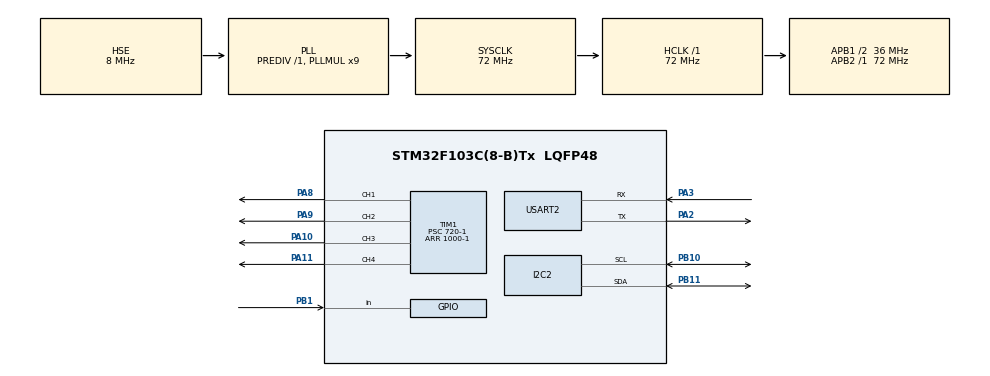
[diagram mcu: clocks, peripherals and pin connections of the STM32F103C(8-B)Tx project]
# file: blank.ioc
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I2C2.I2C_Mode=I2C_Fast
Mcu.Family=STM32F1
Mcu.Name=STM32F103C(8-B)Tx
Mcu.Package=LQFP48
NVIC.PriorityGroup=NVIC_PRIORITYGROUP_4
NVIC.USART2_IRQn=true\:0\:0\:false\:false\:true\:true\:true\:true
PA10.Signal=S_TIM1_CH3
PA11.Signal=S_TIM1_CH4
PA13.Mode=Serial_Wire
PA13.Signal=SYS_JTMS-SWDIO
PA14.Mode=Serial_Wire
PA14.Signal=SYS_JTCK-SWCLK
PA2.Mode=Asynchronous
PA2.Signal=USART2_TX
PA3.Mode=Asynchronous
PA3.Signal=USART2_RX
PA8.Signal=S_TIM1_CH1
PA9.Signal=S_TIM1_CH2
PB1.Signal=GPIO_Input
PB10.Mode=I2C
PB10.Signal=I2C2_SCL
PB11.Mode=I2C
PB11.Signal=I2C2_SDA
PD0-OSC_IN.Mode=HSE-External-Oscillator
PD0-OSC_IN.Signal=RCC_OSC_IN
PD1-OSC_OUT.Mode=HSE-External-Oscillator
PD1-OSC_OUT.Signal=RCC_OSC_OUT
ProjectManager.HeapSize=0x200
ProjectManager.StackSize=0x400
ProjectManager.TargetToolchain=CMake
RCC.AHBFreq_Value=72000000
RCC.APB1CLKDivider=RCC_HCLK_DIV2
RCC.APB1Freq_Value=36000000
RCC.APB1TimFreq_Value=72000000
RCC.APB2Freq_Value=72000000
RCC.APB2TimFreq_Value=72000000
RCC.HCLKFreq_Value=72000000
RCC.PLLMUL=RCC_PLL_MUL9
RCC.PLLSourceVirtual=RCC_PLLSOURCE_HSE
RCC.SYSCLKFreq_VALUE=72000000
RCC.SYSCLKSource=RCC_SYSCLKSOURCE_PLLCLK
RCC.USBFreq_Value=72000000
SH.S_TIM1_CH1.0=TIM1_CH1,PWM Generation1 CH1
SH.S_TIM1_CH2.0=TIM1_CH2,PWM Generation2 CH2
SH.S_TIM1_CH3.0=TIM1_CH3,PWM Generation3 CH3
SH.S_TIM1_CH4.0=TIM1_CH4,PWM Generation4 CH4
TIM1.Channel-PWM\ Generation1\ CH1=TIM_CHANNEL_1
TIM1.Channel-PWM\ Generation2\ CH2=TIM_CHANNEL_2
TIM1.Channel-PWM\ Generation3\ CH3=TIM_CHANNEL_3
TIM1.Channel-PWM\ Generation4\ CH4=TIM_CHANNEL_4
TIM1.Period=1000-1
TIM1.Prescaler=720-1
USART2.VirtualMode=VM_ASYNC
VP_TIM1_VS_ClockSourceINT.Mode=Internal
board=custom

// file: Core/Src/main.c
/* USER CODE BEGIN Header */
/**
  ******************************************************************************
  * @file           : main.c
  * @brief          : Main program body
  ******************************************************************************
  * @attention
  *
  * Copyright (c) 2025 STMicroelectronics.
  * All rights reserved.
  *
  * This software is licensed under terms that can be found in the LICENSE file
  * in the root directory of this software component.
  * If no LICENSE file comes with this software, it is provided AS-IS.
  *
  ******************************************************************************
  */
/* USER CODE END Header */
#include "main.h"
#include "i2c.h"
#include "tim.h"
#include "usart.h"
#include "gpio.h"

/* USER CODE BEGIN Includes */
#include "mpu6050.h"
#include "string.h"
#include "stdio.h"
/* USER CODE END Includes */

/* USER CODE BEGIN PV */
MPU6050_t MPU6050;

uint8_t rxBuffer[1];  // Single character buffer
uint8_t transmitBuffer[64];  // Complete message buffer
uint16_t messageIndex = 0;  // Current position in message
uint8_t messageComplete = 0;  // Flag indicating complete message
uint8_t messageBuffer[MAX_MESSAGE_SIZE];

double roll = 0;
double pitch = 0;
double yaw = 0;        // IMU angle

uint16_t ccrValue = 0;
uint32_t tick_prev = 0;

double uRoll = 0;
double uPitch = 0;
double uYaw = 0;
double baseDuty = 0;
int flag = 4; // 4: mode1, 0~1: motor, 5: pid

/* USER CODE END PV */

void SystemClock_Config(void);

/* USER CODE BEGIN 0 */
typedef struct {
    double kp, ki, kd;
    double i_term;
    double prev_err;
} PID_t;
// need experiment
static PID_t pidRoll  = { 1.0, 0.0, 20.0, 0.0, 0.0 }; // you need to adjust gain
static PID_t pidPitch = { 1.0, 0.0, 20.0, 0.0, 0.0 };
static PID_t pidYaw   = { 1.0, 0.0, 0.0, 0.0, 0.0 };

// sp: target, mv: sensor state(current)
static inline double pid_update(PID_t *p, double sp, double mv, double dt)
{
    double err = sp - mv;
    p->i_term += p->ki * err * dt;
    double d   = p->kd * (err - p->prev_err) / dt;
    p->prev_err = err;
    return p->kp * err + p->i_term + d;
}

/* PSC = 720-1, ARR = 1000-1 */
static inline void setMotorDuty(uint8_t channel, double dutyPercent)
/*
    channel: 0‥3 (CH1..CH4)
    dutyPercent: 0.0 – 100.0 (%)
*/
{
    if (dutyPercent < 0.0) dutyPercent = 0.0;
    if (dutyPercent > 100.0) dutyPercent = 100.0;

    /* total ticks per period = ARR + 1 */
    uint16_t periodTicks = TIM1->ARR + 1;
    ccrValue = (uint16_t)((dutyPercent / 100.0) * periodTicks);

    switch (channel)
    {
        case 0: TIM1->CCR1 = ccrValue; break;   /* PA8  */
        case 1: TIM1->CCR2 = ccrValue; break;   /* PA9  */
        case 2: TIM1->CCR3 = ccrValue; break;   /* PA10 */
        default:TIM1->CCR4 = ccrValue; break;   /* PA11 */
    }
}

/* USER CODE END 0 */

int main(void)
{

  /* USER CODE BEGIN 1 */
  int i = 0;
  /* USER CODE END 1 */

  /* MCU Configuration--------------------------------------------------------*/

  /* Reset of all peripherals, Initializes the Flash interface and the Systick. */
  HAL_Init();

  /* Configure the system clock */
  SystemClock_Config();

  /* Initialize all configured peripherals */
  MX_GPIO_Init();
  MX_I2C2_Init();
  MX_TIM1_Init();
  MX_USART2_UART_Init();
  /* USER CODE BEGIN 2 */
  HAL_TIM_PWM_Start(&htim1, TIM_CHANNEL_1);
  HAL_TIM_PWM_Start(&htim1, TIM_CHANNEL_2);
  HAL_TIM_PWM_Start(&htim1, TIM_CHANNEL_3);
  HAL_TIM_PWM_Start(&htim1, TIM_CHANNEL_4);

  // while (MPU6050_Init(&hi2c2) == 1);

  // Start UART reception in interrupt mode (single character)
  HAL_UART_Receive_IT(&huart2, rxBuffer, 1);

  // Send welcome message
  char welcomeMsg[] = "UART2 Interrupt Ready!\r\n";
  HAL_UART_Transmit(&huart2, (uint8_t*)welcomeMsg, strlen(welcomeMsg), HAL_MAX_DELAY);

  /* USER CODE END 2 */

  /* Infinite loop */
  while (1)
  {

    /* USER CODE BEGIN 3 */

    // Thus static, only once called
    uint32_t tick_now = HAL_GetTick(); /* milliseconds */
    double dt = (tick_now - tick_prev) * 0.001; /* seconds      */
    tick_prev = tick_now;

    /* 1. Read raw sensors (driver also updates Kalman angles) */
    MPU6050_Read_All(&hi2c2, &MPU6050);

    yaw = MPU6050.KalmanAngleX;   /* deg, double */
    pitch = MPU6050.KalmanAngleY;  /* deg, double, you need to +-90 'sometimes', depends on case */
    roll += MPU6050.Gz * dt;          /* Gz: deg/s */

    /* 2. PID computation (target: level = 0°) */
    uRoll = pid_update(&pidRoll, 0.0, roll , dt);
    uPitch = pid_update(&pidPitch, 0.0, pitch, dt);
    uYaw = pid_update(&pidYaw , 0.0, yaw , dt);

    /* 3. Mixer: +X quad (FL, FR, RR, RL) */
    /* AP001, 0: RL(cw), 1: FR(cw), 2: RR(ccw), 3: FL(ccw) */
    /* AP003, 0: RR(ccw), 1: FR(Cw), 2: RL(cw), 3: FL(ccw) */
    // setMotorDuty(0, baseDuty + uPitch - uRoll + uYaw); /* Motor 1 (PA8)  */
    // setMotorDuty(0, 0); // answer
    // setMotorDuty(0, 0);

    // setMotorDuty(1, baseDuty + uPitch + uRoll - uYaw); /* Motor 2 (PA9)  */
    // setMotorDuty(1, baseDuty + uPitch + uRoll - uYaw);
    // setMotorDuty(1, 0);
    // setMotorDuty(2, baseDuty - uPitch + uRoll + uYaw); /* Motor 3 (PA10) */
    // setMotorDuty(2, baseDuty - uPitch - uRoll - uYaw);
    // setMotorDuty(2, baseDuty);
    // setMotorDuty(3, baseDuty - uPitch - uRoll - uYaw); /* Motor 4 (PA11) */
    // setMotorDuty(3, baseDuty - uPitch + uRoll + uYaw);
    // setMotorDuty(3, 0);

    if(flag == 4) {
        setMotorDuty(0, baseDuty);
        setMotorDuty(1, baseDuty);
        setMotorDuty(2, baseDuty);
        setMotorDuty(3, baseDuty);
    } else if(flag == 5){
        setMotorDuty(0, baseDuty + uPitch + uRoll - uYaw);   // Rear-Left  (CW)
        setMotorDuty(1, baseDuty - uPitch - uRoll - uYaw);   // Front-Right(CW)
        setMotorDuty(2, baseDuty + uPitch - uRoll + uYaw);   // Rear-Right (CCW)
        setMotorDuty(3, baseDuty - uPitch + uRoll + uYaw);   // Front-Left (CCW)
    } else if(flag == 0){
        setMotorDuty(0, baseDuty + uPitch + uRoll - uYaw);   // Rear-Left  (CW)
        setMotorDuty(1, 0);
        setMotorDuty(2, 0);
        setMotorDuty(3, 0);
    } else if(flag == 1){
        setMotorDuty(0, 0);
        setMotorDuty(1, baseDuty - uPitch - uRoll - uYaw);   // Front-Right(CW)
        setMotorDuty(2, 0);
        setMotorDuty(3, 0);
    } else if(flag == 2){
        setMotorDuty(0, 0);
        setMotorDuty(1, 0);
        setMotorDuty(2, baseDuty + uPitch - uRoll + uYaw);   // Rear-Right (CCW)
        setMotorDuty(3, 0);
    } else if(flag == 3){
        setMotorDuty(0, 0);
        setMotorDuty(1, 0);
        setMotorDuty(2, 0);
        setMotorDuty(3, baseDuty - uPitch + uRoll + uYaw);   // Front-Left (CCW)
    }

    /* 4. Loop timing: 1 kHz */
    if (i == 10) {
      uint16_t m0 = TIM1->CCR1;
      uint16_t m1 = TIM1->CCR2;
      uint16_t m2 = TIM1->CCR3;
      uint16_t m3 = TIM1->CCR4;

      sprintf((char*)transmitBuffer, "R:%d, P:%d, Y:%d, M:[%u,%u,%u,%u]\r\n",
                      (int)roll, (int)pitch, (int)yaw,
                      m0, m1, m2, m3);
      HAL_UART_Transmit(&huart2, transmitBuffer, strlen(transmitBuffer), 100);
      memset(transmitBuffer, 0, sizeof(transmitBuffer));

      i = 0;
    }

    ++i;
    HAL_Delay(10);
  }
  /* USER CODE END 3 */
}

/*     sprintf((char*)messageBuffer, "R:%d, P:%d, Y:%d, M:[%u,%u,%u,%u]\r\n",
                      (int)roll, (int)pitch, (int)yaw,
                      m0, m1, m2, m3);
    HAL_UART_Transmit(&huart2, messageBuffer, strlen(messageBuffer), 100);
    memset(messageBuffer, 0, sizeof(messageBuffer));

*/

void SystemClock_Config(void)
{
  RCC_OscInitTypeDef RCC_OscInitStruct = {0};
  RCC_ClkInitTypeDef RCC_ClkInitStruct = {0};

  /** Initializes the RCC Oscillators according to the specified parameters
  * in the RCC_OscInitTypeDef structure.
  */
  RCC_OscInitStruct.OscillatorType = RCC_OSCILLATORTYPE_HSE;
  RCC_OscInitStruct.HSEState = RCC_HSE_ON;
  RCC_OscInitStruct.HSEPredivValue = RCC_HSE_PREDIV_DIV1;
  RCC_OscInitStruct.HSIState = RCC_HSI_ON;
  RCC_OscInitStruct.PLL.PLLState = RCC_PLL_ON;
  RCC_OscInitStruct.PLL.PLLSource = RCC_PLLSOURCE_HSE;
  RCC_OscInitStruct.PLL.PLLMUL = RCC_PLL_MUL9;
  if (HAL_RCC_OscConfig(&RCC_OscInitStruct) != HAL_OK)
  {
    Error_Handler();
  }

  /** Initializes the CPU, AHB and APB buses clocks
  */
  RCC_ClkInitStruct.ClockType = RCC_CLOCKTYPE_HCLK|RCC_CLOCKTYPE_SYSCLK
                              |RCC_CLOCKTYPE_PCLK1|RCC_CLOCKTYPE_PCLK2;
  RCC_ClkInitStruct.SYSCLKSource = RCC_SYSCLKSOURCE_PLLCLK;
  RCC_ClkInitStruct.AHBCLKDivider = RCC_SYSCLK_DIV1;
  RCC_ClkInitStruct.APB1CLKDivider = RCC_HCLK_DIV2;
  RCC_ClkInitStruct.APB2CLKDivider = RCC_HCLK_DIV1;

  if (HAL_RCC_ClockConfig(&RCC_ClkInitStruct, FLASH_LATENCY_2) != HAL_OK)
  {
    Error_Handler();
  }
}

void Error_Handler(void)
{
  __disable_irq();
  while (1)
  {
  }
}
